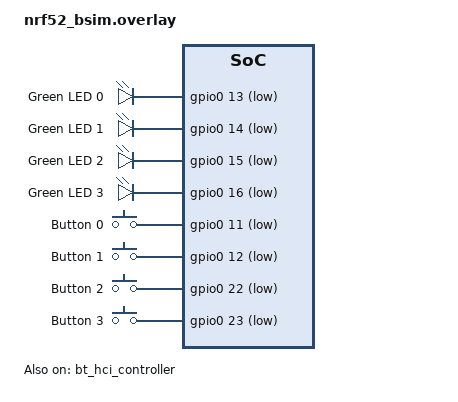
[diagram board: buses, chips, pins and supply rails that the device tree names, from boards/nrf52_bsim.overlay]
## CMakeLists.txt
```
#
# Copyright (c) 2019 Nordic Semiconductor ASA
#
# SPDX-License-Identifier: LicenseRef-Nordic-5-Clause
#
cmake_minimum_required(VERSION 3.20.0)

find_package(Zephyr REQUIRED HINTS $ENV{ZEPHYR_BASE})
project(light)

include_directories(
	${ZEPHYR_NRF_MODULE_DIR}/samples/bluetooth/mesh/common
)

# NORDIC SDK APP START
target_sources(app PRIVATE
	src/main.c
	src/model_handler.c)
target_include_directories(app PRIVATE
	include
	${ZEPHYR_NRF_MODULE_DIR}/samples/bluetooth/mesh/common
)

# Preinitialization related to DFU over SMP
target_sources_ifdef(CONFIG_MCUMGR_TRANSPORT_BT app PRIVATE
	${ZEPHYR_NRF_MODULE_DIR}/samples/bluetooth/mesh/common/smp_bt.c)

# NORDIC SDK APP END
```

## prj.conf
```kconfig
# Copyright (c) 2019 Nordic Semiconductor ASA
# SPDX-License-Identifier: LicenseRef-Nordic-5-Clause

CONFIG_NCS_SAMPLES_DEFAULTS=y

# ==== 1. KHÓA CHẾ ĐỘ BIÊN DỊCH TỐI ƯU DUNG LƯỢNG & ĐIỆN NĂNG ====
CONFIG_SIZE_OPTIMIZATIONS=y

# ==== 2. QUẢN LÝ NĂNG LƯỢNG ====
CONFIG_PM=y
CONFIG_PM_DEVICE=y
CONFIG_PM_DEVICE_RUNTIME=y
CONFIG_PM_POLICY_DEFAULT=y
CONFIG_TICKLESS_KERNEL=y
CONFIG_SYS_CLOCK_EXISTS=y

# Low frequency clock configuration: use internal RC oscillator (safe fallback for custom boards)
CONFIG_CLOCK_CONTROL=y
CONFIG_CLOCK_CONTROL_NRF_K32SRC_RC=y
CONFIG_CLOCK_CONTROL_NRF_K32SRC_500PPM=y

# ==== 3. CẤU HÌNH ĐỊNH TUYẾN LƯU TRỮ NVS ====
CONFIG_FLASH=y
CONFIG_FLASH_MAP=y
CONFIG_SETTINGS=y
CONFIG_NVS=y
CONFIG_SETTINGS_NVS=y
CONFIG_SOC_FLASH_NRF_PARTIAL_ERASE=y

# Cấu hình chung ứng dụng
CONFIG_NCS_APPLICATION_BOOT_BANNER_STRING="Leaf Node"
CONFIG_SYSTEM_WORKQUEUE_STACK_SIZE=2048
CONFIG_HWINFO=y
CONFIG_DK_LIBRARY=y

# ==== 4. BLUETOOTH MESH CƠ BẢN ====
CONFIG_BT=y
CONFIG_BT_DEVICE_NAME="Leaf Node"
CONFIG_BT_L2CAP_TX_BUF_COUNT=8
CONFIG_BT_OBSERVER=y
CONFIG_BT_PERIPHERAL=y
CONFIG_BT_SETTINGS=y
CONFIG_BT_RX_STACK_SIZE=2700
CONFIG_BT_MESH_PB_GATT=y
CONFIG_BT_MESH_GATT_PROXY=y

# Hạ dòng tĩnh: Tắt Controller phụ trợ
CONFIG_BT_CTLR_LE_ENC=n
CONFIG_BT_PHY_UPDATE=n
CONFIG_BT_CTLR_CHAN_SEL_2=n
CONFIG_BT_CTLR_MIN_USED_CHAN=n
CONFIG_BT_CTLR_PRIVACY=n

CONFIG_BT_MESH=y
CONFIG_BT_MESH_RELAY=y
CONFIG_BT_MESH_FRIEND=n
CONFIG_BT_MESH_TX_SEG_MAX=10
CONFIG_BT_MESH_PROXY_USE_DEVICE_NAME=y
CONFIG_BT_MESH_DK_PROV=y
CONFIG_BT_MESH_ONOFF_SRV=y
CONFIG_BT_MESH_SENSOR_SRV=y
CONFIG_BT_MESH_SENSOR_SRV_SENSORS_MAX=2
CONFIG_BT_MESH_SENSOR_CHANNELS_MAX=1
CONFIG_BT_MESH_RELAY_ENABLED=y
CONFIG_BT_MESH_RELAY_RETRANSMIT_COUNT=1
CONFIG_BT_MESH_RELAY_RETRANSMIT_INTERVAL=20
CONFIG_BT_MESH_CRPL=256
CONFIG_BT_MESH_MSG_CACHE_SIZE=64
CONFIG_BT_MESH_SUBNET_COUNT=1
CONFIG_BT_MESH_APP_KEY_COUNT=1
CONFIG_BT_MESH_MODEL_KEY_COUNT=2
CONFIG_BT_MESH_MODEL_GROUP_COUNT=4
CONFIG_BT_MESH_DEFAULT_TTL=127


# Cấu hình công suất phát RF lên tối đa (+8 dBm) để gấp đôi/gấp nhiều lần công suất phát nRF
CONFIG_BT_CTLR_TX_PWR_DYNAMIC_CONTROL=y
CONFIG_BT_CTLR_TX_PWR_PLUS_8=y
CONFIG_BT_CTLR_TX_PWR_ANTENNA=0

# Tăng stack size tránh tràn bộ nhớ gây treo chip
CONFIG_MAIN_STACK_SIZE=4096

# Sửa lỗi đồng bộ hàng đợi gửi tin BLE
CONFIG_BT_CONN_TX_NOTIFY_WQ=y

CONFIG_GPIO=y
CONFIG_WATCHDOG=n

# ==== 5. CẤU HÌNH SEGGER RTT DEBUG CHO LEAF ====
# Bật trong giai đoạn debug để phân biệt: chưa nhận trigger, publication chưa
# cấu hình, AppKey chưa bind, hay gói đã được xếp hàng gửi thành công.
CONFIG_LOG=y
CONFIG_PRINTK=y
CONFIG_LOG_MODE_DEFERRED=y
CONFIG_LOG_DEFAULT_LEVEL=3
CONFIG_USE_SEGGER_RTT=y
CONFIG_RTT_CONSOLE=y
CONFIG_SERIAL=n
CONFIG_UART_CONSOLE=n
CONFIG_STDOUT_CONSOLE=n
CONFIG_LOG_BACKEND_RTT=y
CONFIG_LOG_BACKEND_UART=n
CONFIG_LOG_PRINTK=y

# Tăng số lượng bộ đệm advertiser để đáp ứng chuỗi truyền lặp 7 gói tin
CONFIG_BT_MESH_ADV_BUF_COUNT=24

# ==== 7. ADC CONFIGURATION FOR BATTERY MONITORING ====
CONFIG_ADC=y

# Cấu hình Segmented Messages để tránh lỗi nghẽn context khi gửi/nhận
CONFIG_BT_MESH_TX_SEG_MSG_COUNT=8
CONFIG_BT_MESH_RX_SEG_MSG_COUNT=8

# Tối ưu cho nhan/sleep tren san pham thuc te nRF54L15
CONFIG_PM_PARTITION_SIZE_PROVISION=0

# Vô hiệu hóa phần cứng CryptoCell CC310 để chạy mượt mà trên Renode không có phần cứng này
CONFIG_PSA_CRYPTO_DRIVER_CC3XX=n
CONFIG_CC3XX_BACKEND=n
CONFIG_ENTROPY_CC3XX=n
CONFIG_HW_CC3XX=n
CONFIG_ENTROPY_NRF5_RNG=y
```

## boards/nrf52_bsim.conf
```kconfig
# Disable SoftDevice Controller which is not supported on host compilation
CONFIG_BT_LL_SOFTDEVICE=n
CONFIG_BT_LL_SW_SPLIT=y

# Disable physical console/RTT backends
CONFIG_SERIAL=n
CONFIG_UART_CONSOLE=n
CONFIG_STDOUT_CONSOLE=n
CONFIG_USE_SEGGER_RTT=n
CONFIG_RTT_CONSOLE=n
CONFIG_LOG_BACKEND_RTT=n

# Disable physical HW flash partial erase configs since it is simulated in RAM
CONFIG_SOC_FLASH_NRF_PARTIAL_ERASE=n

# Disable CryptoCell which is not supported on native simulator
CONFIG_PSA_CRYPTO_DRIVER_CC3XX=n
CONFIG_CC3XX_BACKEND=n
CONFIG_ENTROPY_CC3XX=n
CONFIG_HW_CC3XX=n

# Enable standard POSIX entropy generator
CONFIG_TEST_RANDOM_GENERATOR=y

# Use legacy advertiser for compatibility on BabbleSim
CONFIG_BT_EXT_ADV=n

# Immediate logging to prevent log loss on simulation exit
# Leaf logging is intentionally disabled in prj.conf. Keep all leaf output off
# in BabbleSim so 11x11/13x13 runs are not dominated by stdout contention.
CONFIG_LOG=n
CONFIG_PRINTK=n

# Large network buffer scaling for simulation
CONFIG_BT_MESH_ADV_BUF_COUNT=128
CONFIG_BT_MESH_MSG_CACHE_SIZE=128
CONFIG_BT_MESH_TX_SEG_MSG_COUNT=8
CONFIG_BT_MESH_RX_SEG_MSG_COUNT=8

# Enable application-level forwarding model with enough bearer buffers; stack
# relay remains disabled in prj.conf so traffic is controlled by gradient route.
```

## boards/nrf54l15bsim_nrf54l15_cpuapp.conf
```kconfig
# Disable SoftDevice Controller which is not supported on native host/x86 compilation
CONFIG_BT_LL_SOFTDEVICE=n
CONFIG_BT_LL_SW_SPLIT=y

# Disable physical console/RTT backends
CONFIG_SERIAL=n
CONFIG_UART_CONSOLE=n
CONFIG_STDOUT_CONSOLE=n
CONFIG_USE_SEGGER_RTT=n
CONFIG_RTT_CONSOLE=n
CONFIG_LOG_BACKEND_RTT=n

# Disable physical HW flash partial erase configs since it is simulated in RAM
CONFIG_SOC_FLASH_NRF_PARTIAL_ERASE=n

# Disable CryptoCell which is not supported on native simulator
CONFIG_PSA_CRYPTO_DRIVER_CC3XX=n
CONFIG_CC3XX_BACKEND=n
CONFIG_ENTROPY_CC3XX=n
CONFIG_HW_CC3XX=n

# Enable standard POSIX entropy generator
CONFIG_TEST_RANDOM_GENERATOR=y

# Enable GPIO emulation for dummy LEDs/buttons
CONFIG_GPIO=y
CONFIG_GPIO_EMUL=y
```

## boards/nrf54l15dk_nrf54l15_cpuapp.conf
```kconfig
#
# Copyright (c) 2024 Nordic Semiconductor ASA
#
# SPDX-License-Identifier: LicenseRef-Nordic-5-Clause
#
################################################################################
# Application overlay - nrf54l15

CONFIG_SOC_FLASH_NRF_PARTIAL_ERASE=n
CONFIG_SPI_NOR=n
CONFIG_NVS=n
CONFIG_NVS_LOOKUP_CACHE=n
CONFIG_SETTINGS_NVS_NAME_CACHE=n
CONFIG_ZMS=y
CONFIG_SETTINGS_ZMS_SECTOR_COUNT=8
CONFIG_ZMS_LOOKUP_CACHE=y
CONFIG_ZMS_LOOKUP_CACHE_SIZE=512
CONFIG_SETTINGS_ZMS_NAME_CACHE=y
CONFIG_SETTINGS_ZMS_NAME_CACHE_SIZE=512
CONFIG_ZMS_LOOKUP_CACHE_FOR_SETTINGS=y






# ==== CẤU HÌNH XUNG NHỊP THẤP 32kHz CHUẨN NRF54L ====
CONFIG_CLOCK_CONTROL=y
CONFIG_CLOCK_CONTROL_NRF_K32SRC_XTAL=y

# nRF54L15 uses GRTC (Global Real-Time Counter) as the ultra-low-power system timer.
# SYSCOUNTER stays alive on 32.768kHz LFCLK so k_work/k_sleep wakeups survive Deep Sleep with ~1-2 uA consumption.
CONFIG_TICKLESS_KERNEL=y
CONFIG_NRF_GRTC_TIMER=y
CONFIG_NRF_GRTC_START_SYSCOUNTER=y

# ==== CẤU HÌNH TẮT SẠCH CỔNG DEBUG SWD & RTT LOGGING ĐỂ HẠ DÒNG TỪ 1.6mA XUỐNG VÀI uA ====
CONFIG_LOG=n
CONFIG_CONSOLE=n
CONFIG_SERIAL=n
CONFIG_UART_CONSOLE=n
CONFIG_STDOUT_CONSOLE=n
CONFIG_USE_SEGGER_RTT=n
CONFIG_LOG_BACKEND_RTT=n
CONFIG_PRINTK=n
CONFIG_BOOT_BANNER=n

# ==== TẮT NGUỒN TOÀN BỘ CÁC NGOẠI VI KHÔNG NỐI THỰC TẾ (I2C, SPI) ====
CONFIG_I2C=n
CONFIG_SPI=n
CONFIG_SPI_NOR=n
```

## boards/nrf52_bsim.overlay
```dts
/ {
	chosen {
		zephyr,bt-hci = &bt_hci_controller;
	};

	aliases {
		led0 = &led0;
		led1 = &led1;
		led2 = &led2;
		led3 = &led3;
		sw0 = &button0;
		sw1 = &button1;
		sw2 = &button2;
		sw3 = &button3;
	};

	leds {
		compatible = "gpio-leds";
		led0: led0 {
			gpios = <&gpio0 13 GPIO_ACTIVE_LOW>;
			label = "Green LED 0";
		};
		led1: led1 {
			gpios = <&gpio0 14 GPIO_ACTIVE_LOW>;
			label = "Green LED 1";
		};
		led2: led2 {
			gpios = <&gpio0 15 GPIO_ACTIVE_LOW>;
			label = "Green LED 2";
		};
		led3: led3 {
			gpios = <&gpio0 16 GPIO_ACTIVE_LOW>;
			label = "Green LED 3";
		};
	};

	buttons {
		compatible = "gpio-keys";
		button0: button_0 {
			gpios = <&gpio0 11 (GPIO_PULL_UP | GPIO_ACTIVE_LOW)>;
			label = "Button 0";
		};
		button1: button_1 {
			gpios = <&gpio0 12 (GPIO_PULL_UP | GPIO_ACTIVE_LOW)>;
			label = "Button 1";
		};
		button2: button_2 {
			gpios = <&gpio0 22 (GPIO_PULL_UP | GPIO_ACTIVE_LOW)>;
			label = "Button 2";
		};
		button3: button_3 {
			gpios = <&gpio0 23 (GPIO_PULL_UP | GPIO_ACTIVE_LOW)>;
			label = "Button 3";
		};
	};
};

&bt_hci_sdc {
	status = "disabled";
};

&bt_hci_controller {
	status = "okay";
};
```

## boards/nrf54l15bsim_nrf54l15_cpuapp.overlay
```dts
/ {
	aliases {
		led0 = &led0;
		led1 = &led1;
		led2 = &led2;
		led3 = &led3;
	};
};
```

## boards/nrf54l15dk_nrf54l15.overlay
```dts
#include <zephyr/dt-bindings/adc/nrf-saadc.h>

&gpio0 {
    status = "okay";
};

&gpio1 {
    status = "okay";
};

&gpio2 {
    status = "okay";
};

&uart20 {
    status = "disabled";
};

// &i2c21 {
//     compatible = "nordic,nrf-twim";
//     status = "disabled";
//     clock-frequency = <I2C_BITRATE_STANDARD>; /* 100kHz */
//     pinctrl-0 = <&i2c21_default>;
//     pinctrl-1 = <&i2c21_sleep>;
//     pinctrl-names = "default", "sleep";

//     mysensor: mysensor@55{
//         compatible = "i2c-device";
//         reg = <0x55>;
//         label = "MYSENSOR";
//     };
// };

&pinctrl {
    i2c21_default: i2c21_default {
        group1 {
            psels = <NRF_PSEL(TWIM_SCL, 1, 11)>, <NRF_PSEL(TWIM_SDA, 1, 12)>;
            bias-pull-up;
        };
    };

    i2c21_sleep: i2c21_sleep {
        group1 {
            psels = <NRF_PSEL(TWIM_SCL, 1, 11)>, <NRF_PSEL(TWIM_SDA, 1, 12)>;
            low-power-enable;
        };
    };
};

/ {
    leds {
        compatible = "gpio-leds";
        led0: led_0 {
            gpios = <&gpio2 9 GPIO_ACTIVE_LOW>;
            label = "Green LED 0";
        };
        led1: led_1 {
            gpios = <&gpio2 10 GPIO_ACTIVE_LOW>;
            label = "Green LED 1";
        };
        led2: led_2 {
            gpios = <&gpio2 7 GPIO_ACTIVE_LOW>;
            label = "Green LED 2";
        };
        led3: led_3 {
            gpios = <&gpio1 14 GPIO_ACTIVE_LOW>;
            label = "Green LED 3";
        };
    };

    // buttons {
    //     compatible = "gpio-keys";
    //     button0: button_0 {
    //         gpios = <&gpio1 13 (GPIO_PULL_UP | GPIO_ACTIVE_LOW)>;
    //         label = "Push button switch 0";
    //         zephyr,code = <INPUT_KEY_0>;
    //     };
    //     button1: button_1 {
    //         gpios = <&gpio1 4 (GPIO_PULL_UP | GPIO_ACTIVE_LOW)>;
    //         label = "Push button switch 1";
    //         zephyr,code = <INPUT_KEY_1>;
    //     };
    //     /* Đã thêm lại button2 và button3 vào đúng vị trí để tránh lỗi cú pháp */
    //     button2: button_2 {
    //         gpios = <&gpio1 6 (GPIO_PULL_UP | GPIO_ACTIVE_LOW)>; /* LƯU Ý: Đổi số '6' thành chân GPIO thực tế trên mạch của bạn */
    //         label = "Push button switch 2";
    //         zephyr,code = <INPUT_KEY_2>;
    //     };
    //     button3: button_3 {
    //         gpios = <&gpio1 7 (GPIO_PULL_UP | GPIO_ACTIVE_LOW)>; /* LƯU Ý: Đổi số '7' thành chân GPIO thực tế trên mạch của bạn */
    //         label = "Push button switch 3";
    //         zephyr,code = <INPUT_KEY_3>;
    //     };
    // };

    aliases {
        led0 = &led0;
        led1 = &led1;
        led2 = &led2;
        led3 = &led3;
        // sw0 = &button0;
        // sw1 = &button1;
        // sw2 = &button2;
        // sw3 = &button3;
        // i2c-0 = &i2c21;
    };
};

&gpiote30 {
    status = "okay";
};

&grtc {
    status = "okay";
};

/ {
	zephyr,user {
		io-channels = <&adc 0>;
	};
};

&adc {
	status = "okay";
	#address-cells = <1>;
	#size-cells = <0>;

	channel@0 {
		reg = <0>;
		/* ĐỔI TỪ "ADC_GAIN_1_6" SANG "ADC_GAIN_1_4" */
		zephyr,gain = "ADC_GAIN_1_4";
		zephyr,reference = "ADC_REF_INTERNAL";
		zephyr,acquisition-time = <ADC_ACQ_TIME_DEFAULT>;
		zephyr,input-positive = <NRF_SAADC_AIN4>;
		zephyr,resolution = <12>;
	};
};
```

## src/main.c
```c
/*
 * Copyright (c) 2019 Nordic Semiconductor ASA
 *
 * SPDX-License-Identifier: LicenseRef-Nordic-5-Clause
 */

#include <zephyr/bluetooth/bluetooth.h>
#include <bluetooth/mesh/models.h>
#include <bluetooth/mesh/dk_prov.h>
#include <dk_buttons_and_leds.h>
#include <zephyr/drivers/gpio.h>
#include "model_handler.h"
#include "smp_bt.h"
#include <zephyr/device.h>

static void bt_ready(int err)
{
	if (err) {
		printk("Bluetooth init failed (err %d)\n", err);
		return;
	}

	printk("Bluetooth initialized\n");

	err = dk_leds_init();
	if (err) {
		printk("Initializing LEDs failed (err %d)\n", err);
		return;
	}

	err = bt_mesh_init(bt_mesh_dk_prov_init(), model_handler_init());
	if (err) {
		printk("Initializing mesh failed (err %d)\n", err);
		return;
	}

	if (IS_ENABLED(CONFIG_SETTINGS)) {
		settings_load();
	}

	bt_mesh_prov_enable(BT_MESH_PROV_ADV | BT_MESH_PROV_GATT);



	printk("Mesh initialized\n");
	/* Leaf starts in the always-awake state. LED0 indicates awake/sleep. */
	dk_set_leds(DK_NO_LEDS_MSK);
	dk_set_led(0, true);
}

int main(void)
{
	int err;

	printk("Initializing...\n");

	err = bt_enable(bt_ready);
	if (err) {
		printk("Bluetooth init failed (err %d)\n", err);
	}

	return 0;
}
```

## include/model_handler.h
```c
/*
 * Copyright (c) 2019 Nordic Semiconductor ASA
 *
 * SPDX-License-Identifier: LicenseRef-Nordic-5-Clause
 */

/**
 * @file
 * @brief Model handler
 */

#ifndef MODEL_HANDLER_H__
#define MODEL_HANDLER_H__

#include <zephyr/bluetooth/mesh.h>

#ifdef __cplusplus
extern "C" {
#endif

/* =========================================================================
 * CẤU HÌNH THAM SỐ GÓI TIN ĐẶC BIỆT & CHU KỲ NỔI / NGỦ CỦA LEAF NODE
 * =========================================================================
 */
#ifndef SPECIAL_PKT_DELAY_SEC
#define SPECIAL_PKT_DELAY_SEC        5       /* Thời gian delay gửi gói tin đặc biệt (giây) */
#endif

#ifndef LEAF_SLEEP_DURATION_SEC
#define LEAF_SLEEP_DURATION_SEC      10      /* Thời gian Leaf ngủ trong 1 chu kỳ (giây) */
#endif

#ifndef LEAF_AWAKE_DURATION_SEC
#define LEAF_AWAKE_DURATION_SEC      5       /* Thời gian Leaf thức trong 1 chu kỳ (giây) */
#endif

#ifndef SENSOR_TX_MAX_RETRIES
#define SENSOR_TX_MAX_RETRIES        3       /* Số lần thử lại khi gửi tin bị lỗi */
#endif

#ifndef SENSOR_TX_RETRY_DELAY_MS
#define SENSOR_TX_RETRY_DELAY_MS     500     /* Thời gian trễ giữa mỗi lần thử lại (ms) */
#endif

/* =========================================================================
 * ĐỊNH NGHĨA TRẠNG THÁI ĐÈN / LỆNH ONOFF (ON / OFF)
 * =========================================================================
 */
#ifndef LEAF_LED_STATE_ON
#define LEAF_LED_STATE_ON            1       /* Giá trị BẬT đèn / Kích hoạt Cycle mode (1 = ON) */
#endif

#ifndef LEAF_LED_STATE_OFF
#define LEAF_LED_STATE_OFF           0       /* Giá trị TẮT đèn / Dừng Cycle mode (0 = OFF) */
#endif

const struct bt_mesh_comp *model_handler_init(void);


#ifdef __cplusplus
}
#endif

#endif /* MODEL_HANDLER_H__ */
```

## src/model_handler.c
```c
/* Leaf composition and application model handling. */

#include <zephyr/bluetooth/bluetooth.h>
#include <zephyr/bluetooth/mesh.h>
#include <bluetooth/mesh/models.h>
#include <bluetooth/mesh/sensor_types.h>
#include <dk_buttons_and_leds.h>
#include <zephyr/drivers/adc.h>
#include <zephyr/pm/device.h>
#include <zephyr/logging/log.h>
#include <stdlib.h>

#include "model_handler.h"

extern uint16_t bt_mesh_primary_addr(void);

LOG_MODULE_REGISTER(model_handler, CONFIG_LOG_DEFAULT_LEVEL);

#define SENSOR_AWAKE_DURATION_MS  (LEAF_AWAKE_DURATION_SEC * 1000)
#define SENSOR_SLEEP_DURATION_MS  (LEAF_SLEEP_DURATION_SEC * 1000)
#define SENSOR_TX_GUARD_MS         500

static uint8_t simulated_sensor_value;
static uint8_t battery_value;

#if DT_NODE_HAS_PROP(DT_PATH(zephyr_user), io_channels)
static const struct adc_dt_spec adc_channel =
	ADC_DT_SPEC_GET_BY_IDX(DT_PATH(zephyr_user), 0);
#endif

static uint8_t read_battery_level(void)
{
#if DT_NODE_HAS_PROP(DT_PATH(zephyr_user), io_channels)
	int16_t raw = 0;
	struct adc_sequence sequence = {
		.buffer = &raw,
		.buffer_size = sizeof(raw),
	};
	int err;

	if (!adc_is_ready_dt(&adc_channel)) {
		return 101;
	}
	err = adc_channel_setup_dt(&adc_channel);
	if (err) {
		return 101;
	}
	err = adc_sequence_init_dt(&adc_channel, &sequence);
	if (err) {
		return 101;
	}
	err = adc_read_dt(&adc_channel, &sequence);

	/* Tắt ngay ngoại vi ADC để cắt sạch dòng ~350uA khi không đo */
	pm_device_action_run(adc_channel.dev, PM_DEVICE_ACTION_SUSPEND);

	if (err || raw <= 0) {
		return 100; /* Pin chưa nối hoặc ADC đọc 0 -> Giữ mặc định 100% */
	}

	int32_t mv = raw;
	if (adc_raw_to_millivolts_dt(&adc_channel, &mv) < 0) {
		mv = (int32_t)raw * 3600 / 4095;
	}

	if (mv <= 0) {
		return 100;
	}

	return (uint8_t)CLAMP(((mv - 900) * 100) / 600, 0, 100);
#else
	return 100;
#endif
}

static int sensor_value_get(struct bt_mesh_sensor_srv *srv,
				    struct bt_mesh_sensor *sensor,
				    struct bt_mesh_msg_ctx *ctx,
				    struct bt_mesh_sensor_value *rsp)
{
	uint8_t percent = sensor->type->id == bt_mesh_sensor_motion_sensed.id ?
		simulated_sensor_value : battery_value;
	int err = bt_mesh_sensor_value_from_micro(
		sensor->type->channels[0].format, (int64_t)percent * 1000000LL, rsp);

	return err == -ERANGE ? 0 : err;
}

static struct bt_mesh_sensor sensor_data = {
	.type = &bt_mesh_sensor_motion_sensed,
	.get = sensor_value_get,
};

static struct bt_mesh_sensor sensor_battery = {
	.type = &bt_mesh_sensor_present_dev_op_efficiency,
	.get = sensor_value_get,
};

static struct bt_mesh_sensor *const sensors[] = {
	&sensor_data,
	&sensor_battery,
};

static struct bt_mesh_sensor_srv sensor_srv =
	BT_MESH_SENSOR_SRV_INIT(sensors, ARRAY_SIZE(sensors));

struct led_ctx {
	struct bt_mesh_onoff_srv srv;
	struct k_work_delayable work;
	uint32_t remaining;
	bool value;
};

static void led_set(struct bt_mesh_onoff_srv *srv, struct bt_mesh_msg_ctx *ctx,
			const struct bt_mesh_onoff_set *set,
			struct bt_mesh_onoff_status *rsp);
static void led_get(struct bt_mesh_onoff_srv *srv, struct bt_mesh_msg_ctx *ctx,
			struct bt_mesh_onoff_status *rsp);

static const struct bt_mesh_onoff_srv_handlers onoff_handlers = {
	.set = led_set,
	.get = led_get,
};

static struct led_ctx led_ctx[] = {
#if DT_NODE_EXISTS(DT_ALIAS(led0))
	{ .srv = BT_MESH_ONOFF_SRV_INIT(&onoff_handlers) },
#endif
#if DT_NODE_EXISTS(DT_ALIAS(led1))
	{ .srv = BT_MESH_ONOFF_SRV_INIT(&onoff_handlers) },
#endif
};

static struct k_work_delayable cycle_work;
static struct k_work_delayable publish_work;
static struct k_work_delayable suspend_work;
static struct k_work_delayable mesh_config_work;
static bool cycle_mode_active;
static bool is_awake = true;
static uint8_t tx_retry_count;
static uint32_t tx_sequence;

static void update_awake_led(void)
{
	if (is_awake) {
		dk_set_led(0, true);
	} else {
		/* Trong trạng thái ngủ: Tắt TOÀN BỘ các đèn LED để tiết kiệm điện tối đa */
		dk_set_leds(DK_NO_LEDS_MSK);
	}
}

static uint32_t compute_tx_delay_ms(void)
{
#if defined(CONFIG_BOARD_NRF52_BSIM)
	const char *index_str = getenv("NODE_INDEX");
	uint32_t index = index_str ? strtoul(index_str, NULL, 0) : 1;
	const char *nodes_str = getenv("NUM_NODES");
	uint32_t nodes = nodes_str ? strtoul(nodes_str, NULL, 0) : 9;
	uint32_t leaves = MAX(nodes > 1 ? nodes - 1 : 1, 1U);
	return SENSOR_TX_GUARD_MS + ((index - 1U) % leaves) * (15000U / leaves);
#else
	return SENSOR_TX_GUARD_MS;
#endif
}

static void log_mesh_model_state(const char *tag)
{
	const struct bt_mesh_model *model = sensor_srv.model;

	if (!model || !model->pub) {
		LOG_WRN("LEAF_MODEL %s unavailable", tag);
		return;
	}

	LOG_INF("LEAF_MODEL %s primary=0x%04x pub=0x%04x pub_key=0x%03x ttl=%u "
		"keys=%u groups=%u",
		tag, bt_mesh_primary_addr(), model->pub->addr, model->pub->key,
		model->pub->ttl, model->keys_cnt, model->groups_cnt);

	for (int i = 0; i < model->keys_cnt; ++i) {
		LOG_INF("LEAF_MODEL %s key[%d]=0x%03x", tag, i, model->keys[i]);
	}
	for (int i = 0; i < model->groups_cnt; ++i) {
		LOG_INF("LEAF_MODEL %s group[%d]=0x%04x", tag, i, model->groups[i]);
	}
}

static void mesh_config_handler(struct k_work *work)
{
	ARG_UNUSED(work);

	const struct bt_mesh_model *model = sensor_srv.model;
	if (!model || !model->pub) {
		LOG_WRN("LEAF_MODEL configuration delayed: Sensor Server not ready");
		k_work_reschedule(&mesh_config_work, K_SECONDS(2));
		return;
	}

	bool provisioned = bt_mesh_is_provisioned();
	bool pub_configured = (model->pub->addr != BT_MESH_ADDR_UNASSIGNED) &&
			     (model->pub->key != BT_MESH_KEY_UNUSED);

	if (provisioned && pub_configured) {
		static bool state_logged = false;
		if (!state_logged) {
			log_mesh_model_state("configured");
			state_logged = true;
		}
		if (!cycle_mode_active) {
			LOG_INF("LEAF_STATUS Ready & Provisioned! Send ON command to Element 2 (e.g. Group 0xC002) via nRF Mesh app to start sensor cycle.");
			k_work_reschedule(&mesh_config_work, K_SECONDS(30));
		}
	} else {
		LOG_WRN("LEAF_MODEL status: provisioned=%u, pub_configured=%u (Use nRF Mesh app to provision & set publication)",
			provisioned, pub_configured);
		k_work_reschedule(&mesh_config_work, K_SECONDS(5));
	}
}

static void led_status(struct led_ctx *led, struct bt_mesh_onoff_status *status)
{
	status->remaining_time = led->remaining ? led->remaining :
		k_ticks_to_ms_ceil32(k_work_delayable_remaining_get(&led->work));
	status->target_on_off = led->value;
	status->present_on_off = led->value || status->remaining_time;
}

static void led_transition_start(struct led_ctx *led)
{
	int idx = led - &led_ctx[0];
	if (idx != 0) {
		dk_set_led(idx, true);
	}
	k_work_reschedule(&led->work, K_MSEC(led->remaining));
	led->remaining = 0;
}

static void led_work(struct k_work *work)
{
	struct led_ctx *led = CONTAINER_OF(work, struct led_ctx, work.work);
	int idx = led - &led_ctx[0];

	if (led->remaining) {
		led_transition_start(led);
		return;
	}
	if (is_awake && idx != 0) {
		dk_set_led(idx, led->value);
	}
	struct bt_mesh_onoff_status status;
	led_status(led, &status);
	bt_mesh_onoff_srv_pub(&led->srv, NULL, &status);
}

#define SENSOR_OP_STATUS 0x52

static int send_sensor_status_message(uint8_t motion_val, uint8_t battery_val)
{
	if (!sensor_srv.model || !sensor_srv.model->pub) {
		return -EINVAL;
	}

	uint16_t dst_addr = sensor_srv.model->pub->addr;
	uint16_t app_idx = sensor_srv.model->pub->key;

	if (dst_addr == BT_MESH_ADDR_UNASSIGNED || app_idx == BT_MESH_KEY_UNUSED) {
		return -EADDRNOTAVAIL;
	}

	uint8_t msg_data[32];
	struct net_buf_simple msg;
	net_buf_simple_init_with_data(&msg, msg_data, sizeof(msg_data));
	bt_mesh_model_msg_init(&msg, SENSOR_OP_STATUS);

	/* Simple, rock-solid 2-byte Payload: Byte 0 = Motion Data, Byte 1 = Battery Level */
	net_buf_simple_add_u8(&msg, motion_val);
	net_buf_simple_add_u8(&msg, battery_val);

	/* Always use node's SDK Default TTL (bt_mesh_default_ttl_get()), ignoring nRF Mesh app TTL override */
	uint8_t send_ttl = bt_mesh_default_ttl_get();

	struct bt_mesh_msg_ctx ctx = {
		.addr     = dst_addr,
		.net_idx  = 0,
		.app_idx  = app_idx,
		.send_ttl = send_ttl,
	};

	return bt_mesh_model_send(sensor_srv.model, &ctx, &msg, NULL, NULL);
}

#define SPECIAL_SENSOR_OP 0x8299
static struct k_work_delayable special_seq_work;

static void special_seq_handler(struct k_work *work)
{
	ARG_UNUSED(work);

	LOG_INF("=========================================================================");
	LOG_INF("[LEAF 5s TIMER EXPIRED] Transmitting Sensor Model Status & Battery packet...");
	LOG_INF("=========================================================================");

	/* Send Sensor Status Data + Battery Packet */
	battery_value = read_battery_level();
	LOG_INF("[LEAF SENSOR TX] Transmitting Sensor Model data packet (motion=%u%%, battery=%u%%, send_ttl=%u)",
		simulated_sensor_value, battery_value, bt_mesh_default_ttl_get());
	send_sensor_status_message(simulated_sensor_value, battery_value);
}

void bt_mesh_special_pkt_rx_notify(uint8_t data_val)
{
	LOG_INF("=========================================================================");
	LOG_INF("[LEAF RX SPECIAL PKT] Received data=%u! Scheduling %us timer for Sensor Status packet...", data_val, SPECIAL_PKT_DELAY_SEC);
	LOG_INF("=========================================================================");
	k_work_reschedule(&special_seq_work, K_SECONDS(SPECIAL_PKT_DELAY_SEC));
}

static void publish_handler(struct k_work *work)
{
	ARG_UNUSED(work);
	if (!cycle_mode_active || !is_awake || !sensor_srv.model) {
		LOG_WRN("LEAF_TX skipped active=%u awake=%u model=%u",
			cycle_mode_active, is_awake, sensor_srv.model != NULL);
		return;
	}

	if (!sensor_srv.model->pub ||
	    sensor_srv.model->pub->addr == BT_MESH_ADDR_UNASSIGNED ||
	    sensor_srv.model->pub->key == BT_MESH_KEY_UNUSED) {
		LOG_WRN("LEAF_TX skipped: Dynamic publication not configured via nRF Mesh app yet (addr=0x%04x key=0x%03x)",
			sensor_srv.model->pub ? sensor_srv.model->pub->addr : 0,
			sensor_srv.model->pub ? sensor_srv.model->pub->key : BT_MESH_KEY_UNUSED);
		return;
	}

	battery_value = read_battery_level();
	uint32_t sequence = ++tx_sequence;
	uint32_t now = k_uptime_get_32();
	uint8_t actual_ttl = bt_mesh_default_ttl_get();
	LOG_INF("LEAF_TX seq=%u t_ms=%u dst=0x%04x pub_key=0x%03x ttl=%u data=%u battery=%u retry=%u",
		sequence, now, sensor_srv.model->pub->addr,
		sensor_srv.model->pub->key, actual_ttl,
		simulated_sensor_value, battery_value, tx_retry_count);

	int err = send_sensor_status_message(simulated_sensor_value, battery_value);
	if (err) {
		LOG_ERR("LEAF_TX_FAIL seq=%u err=%d (%s)", sequence, err,
			err == -EADDRNOTAVAIL ? "publication address unavailable" :
			err == -EINVAL ? "model/AppKey not bound or invalid" : "mesh send error");
	}
	if (err && tx_retry_count++ < SENSOR_TX_MAX_RETRIES) {
		LOG_WRN("LEAF_TX_RETRY seq=%u next_in_ms=%u count=%u",
			sequence, SENSOR_TX_RETRY_DELAY_MS, tx_retry_count);
		k_work_reschedule(&publish_work, K_MSEC(SENSOR_TX_RETRY_DELAY_MS));
	} else if (!err) {
		LOG_INF("LEAF_TX_OK seq=%u (Packet successfully transmitted over BLE Mesh)", sequence);
		tx_retry_count = 0;
	} else {
		LOG_ERR("LEAF_TX_GIVE_UP seq=%u", sequence);
	}
}

static void suspend_handler(struct k_work *work)
{
	ARG_UNUSED(work);
	if (is_awake || !cycle_mode_active) {
		return;
	}

	/* Tắt 100% tất cả các đèn LED phần cứng */
	dk_set_leds(DK_NO_LEDS_MSK);

#if DT_NODE_HAS_PROP(DT_PATH(zephyr_user), io_channels)
	if (adc_is_ready_dt(&adc_channel)) {
		pm_device_action_run(adc_channel.dev, PM_DEVICE_ACTION_SUSPEND);
	}
#endif

#if !defined(CONFIG_BOARD_NRF52_BSIM)
	bt_mesh_suspend();
	bt_le_adv_stop();
#endif
	LOG_INF("LEAF_RADIO Suspended radio for sleep cycle");
}

static void cycle_handler(struct k_work *work)
{
	ARG_UNUSED(work);
	if (!cycle_mode_active) {
		return;
	}

	is_awake = !is_awake;
	LOG_INF("LEAF_CYCLE t_ms=%u state=%s", k_uptime_get_32(),
		is_awake ? "awake" : "sleep");
	if (is_awake) {
#if !defined(CONFIG_BOARD_NRF52_BSIM)
		bt_mesh_resume();
#endif
		simulated_sensor_value = (simulated_sensor_value + 5U) % 201U;
		tx_retry_count = 0;
		update_awake_led();
		k_work_reschedule(&publish_work, K_MSEC(compute_tx_delay_ms()));
		k_work_reschedule(&cycle_work, K_MSEC(SENSOR_AWAKE_DURATION_MS));
	} else {
		k_work_cancel_delayable(&publish_work);
		update_awake_led();
		/* Delay radio suspend by 1.5s so in-flight BLE ADV buffers can transmit */
		k_work_reschedule(&suspend_work, K_MSEC(1500));
		k_work_reschedule(&cycle_work, K_MSEC(SENSOR_SLEEP_DURATION_MS));
	}
}

static void led_set(struct bt_mesh_onoff_srv *srv, struct bt_mesh_msg_ctx *ctx,
			const struct bt_mesh_onoff_set *set,
			struct bt_mesh_onoff_status *rsp)
{
	struct led_ctx *led = CONTAINER_OF(srv, struct led_ctx, srv);
	int idx = led - &led_ctx[0];
	led->value = set->on_off;
	LOG_INF("LEAF_ONOFF idx=%d value=%u src=0x%04x", idx, set->on_off,
		ctx ? ctx->addr : BT_MESH_ADDR_UNASSIGNED);

	if (idx == 1) {
		/* Element 2 (idx 1) controls cycle mode via Group / Unicast OnOff commands */
		if (set->on_off == LEAF_LED_STATE_ON) {
			if (!cycle_mode_active) {
				led->value = LEAF_LED_STATE_ON;
				cycle_mode_active = true;
				is_awake = true;
				tx_retry_count = 0;
				update_awake_led();
				LOG_INF("LEAF_CYCLE Started cycle mode via OnOff ON command!");
				k_work_reschedule(&publish_work, K_MSEC(500));
				k_work_reschedule(&cycle_work, K_MSEC(SENSOR_AWAKE_DURATION_MS));
			}
		} else {
			if (cycle_mode_active) {
				cycle_mode_active = false;
				is_awake = false;
				k_work_cancel_delayable(&publish_work);
				k_work_cancel_delayable(&cycle_work);
				k_work_cancel_delayable(&suspend_work);
				update_awake_led();
#if !defined(CONFIG_BOARD_NRF52_BSIM)
				bt_mesh_suspend();
#endif
				LOG_INF("LEAF_CYCLE Stopped cycle mode via OnOff OFF command");
			}
			led->value = LEAF_LED_STATE_OFF;
		}
	} else if (!bt_mesh_model_transition_time(set->transition)) {
		led->remaining = 0;
		if (is_awake && idx != 0) {
			dk_set_led(idx, set->on_off);
		}
	} else {
		led->remaining = set->transition->time;
		k_work_reschedule(&led->work, K_MSEC(set->transition->delay));
	}

	if (rsp) {
		led_status(led, rsp);
	}
}

static void led_get(struct bt_mesh_onoff_srv *srv, struct bt_mesh_msg_ctx *ctx,
			struct bt_mesh_onoff_status *rsp)
{
	ARG_UNUSED(ctx);
	led_status(CONTAINER_OF(srv, struct led_ctx, srv), rsp);
}

static bool attention;
static struct k_work_delayable attention_blink_work;

static void attention_blink(struct k_work *work)
{
	ARG_UNUSED(work);
	if (attention) {
		dk_set_leds(DK_ALL_LEDS_MSK);
		k_work_reschedule(&attention_blink_work, K_MSEC(100));
	} else {
		dk_set_leds(DK_NO_LEDS_MSK);
		update_awake_led();
	}
}

static void attention_on(const struct bt_mesh_model *mod)
{
	ARG_UNUSED(mod);
	attention = true;
	k_work_reschedule(&attention_blink_work, K_NO_WAIT);
}

static void attention_off(const struct bt_mesh_model *mod)
{
	ARG_UNUSED(mod);
	attention = false;
	k_work_reschedule(&attention_blink_work, K_NO_WAIT);
}

static const struct bt_mesh_health_srv_cb health_srv_cb = {
	.attn_on = attention_on,
	.attn_off = attention_off,
};
static struct bt_mesh_health_srv health_srv = { .cb = &health_srv_cb };
BT_MESH_HEALTH_PUB_DEFINE(health_pub, 0);

static struct bt_mesh_elem elements[] = {
#if DT_NODE_EXISTS(DT_ALIAS(led0))
	BT_MESH_ELEM(1,
		BT_MESH_MODEL_LIST(BT_MESH_MODEL_CFG_SRV,
			BT_MESH_MODEL_HEALTH_SRV(&health_srv, &health_pub),
			BT_MESH_MODEL_SENSOR_SRV(&sensor_srv)),
		BT_MESH_MODEL_NONE),
#endif
#if DT_NODE_EXISTS(DT_ALIAS(led1))
	BT_MESH_ELEM(3,
		BT_MESH_MODEL_LIST(BT_MESH_MODEL_ONOFF_SRV(&led_ctx[1].srv)),
		BT_MESH_MODEL_NONE),
#endif
};

static const struct bt_mesh_comp comp = {
	.cid = CONFIG_BT_COMPANY_ID,
	.elem = elements,
	.elem_count = ARRAY_SIZE(elements),
};

extern bool ttl_modified_by_special_pkt;

const struct bt_mesh_comp *model_handler_init(void)
{
	ttl_modified_by_special_pkt = false;
	bt_mesh_default_ttl_set(7);

	k_work_init_delayable(&cycle_work, cycle_handler);
	k_work_init_delayable(&publish_work, publish_handler);
	k_work_init_delayable(&suspend_work, suspend_handler);
	k_work_init_delayable(&special_seq_work, special_seq_handler);
	k_work_init_delayable(&mesh_config_work, mesh_config_handler);
	k_work_init_delayable(&attention_blink_work, attention_blink);
	for (int i = 0; i < ARRAY_SIZE(led_ctx); ++i) {
		k_work_init_delayable(&led_ctx[i].work, led_work);
	}
	is_awake = true;
	tx_sequence = 0;
	update_awake_led();
	LOG_INF("LEAF_INIT Sensor Server ready; waiting for trigger/configuration (TTL reset to default, ttl_modified=false)");
	k_work_reschedule(&mesh_config_work, K_SECONDS(2));
	return &comp;
}
```
